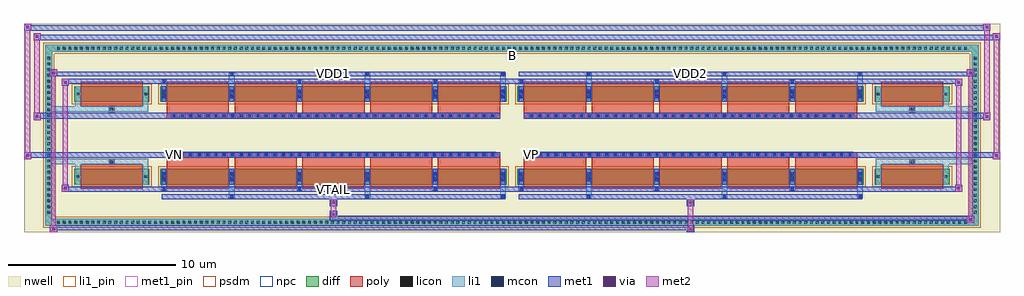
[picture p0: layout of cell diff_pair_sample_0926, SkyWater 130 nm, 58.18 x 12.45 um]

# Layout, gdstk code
import gdstk
lib = gdstk.Library(unit=1e-6, precision=5e-09)
def R(c, l, rs):  # rectangles x0, y0, x1, y1
    for r in rs: c.add(gdstk.rectangle(r[:2], r[2:], *l))
def A(c, l, x, y, w, h, nx, ny, dx, dy):  # array of equal rectangles
    R(c, l, [(x+i*dx, y+j*dy, x+i*dx+w, y+j*dy+h) for i in range(nx) for j in range(ny)])
def P(c, l, *ps):  # polygons
    for p in ps: c.add(gdstk.Polygon(p, *l))
nwell = (64, 20)
diff = (65, 20)
poly = (66, 20)
licon = (66, 44)
li1_pin = (67, 16)
li1 = (67, 20)
mcon = (67, 44)
met1_pin = (68, 16)
met1 = (68, 20)
via = (68, 44)
met2 = (69, 20)
psdm = (94, 20)
npc = (95, 20)

diff_pair_sample_0926 = lib.new_cell('diff_pair_sample_0926')
R(diff_pair_sample_0926, nwell, [(-29.09,-5.79,29.09,6.66), (-26.41,-3.98,-0.01,-0.8), (0.01,-3.98,26.41,-0.8), (-26.41,0.8,-0.01,3.98), (0.01,0.8,26.41,3.98)])
A(diff_pair_sample_0926, diff, -27.235, -5.39, 0.41, 0.41, 160, 2, 0.34, 10.37)
A(diff_pair_sample_0926, diff, -27.82, -4.795, 0.41, 0.41, 1, 28, 0, 0.34)
A(diff_pair_sample_0926, diff, 27.41, -4.795, 0.41, 0.41, 1, 28, 0, 0.34)
R(diff_pair_sample_0926, diff, [(-27.235,-5.39,27.235,-4.98), (-27.82,-4.795,-27.41,4.795), (27.41,-4.795,27.82,4.795), (-26.1,-2.935,-21.61,-1.985), (-20.97,-2.935,-0.32,-1.985), (0.32,-2.935,20.97,-1.985), (21.61,-2.935,26.1,-1.985), (-26.1,1.985,-21.61,2.935), (-20.97,1.985,-0.32,2.935), (0.32,1.985,20.97,2.935), (21.61,1.985,26.1,2.935), (-27.235,4.98,27.235,5.39)])
P(diff_pair_sample_0926, diff, [(27.82,5.39),(-27.82,5.39),(-27.82,-4.98),(-27.41,-4.98),(-27.41,4.98),(27.41,4.98),(27.41,-4.98),(-27.41,-4.98),(-27.82,-4.98),(-27.82,-5.39),(27.82,-5.39)])
A(diff_pair_sample_0926, poly, -20.58, -3.185, 3.71, 1.45, 5, 2, 4.04, 4.92)
A(diff_pair_sample_0926, poly, 0.71, -3.185, 3.71, 1.45, 5, 2, 4.04, 4.92)
A(diff_pair_sample_0926, poly, -20.58, -1.735, 3.71, 0.405, 5, 2, 4.04, 3.065)
A(diff_pair_sample_0926, poly, 0.71, -1.735, 3.71, 0.405, 5, 2, 4.04, 3.065)
A(diff_pair_sample_0926, poly, -20.31, -1.33, 0.33, 0.33, 39, 2, 0.5, 2.33)
A(diff_pair_sample_0926, poly, 0.98, -1.33, 0.33, 0.33, 39, 2, 0.5, 2.33)
R(diff_pair_sample_0926, poly, [(-25.71,-3.185,-22,-1.735), (22,-3.185,25.71,-1.735), (-24.02,-1.735,-23.69,-1.405), (-24.02,-1.735,-23.69,-1.405), (23.69,-1.735,24.02,-1.405), (23.69,-1.735,24.02,-1.405), (-20.58,-1.33,-0.71,-1), (0.71,-1.33,20.58,-1), (-20.58,1,-0.71,1.33), (0.71,1,20.58,1.33), (-24.02,1.405,-23.69,1.735), (-24.02,1.405,-23.69,1.735), (23.69,1.405,24.02,1.735), (23.69,1.405,24.02,1.735), (-25.71,1.735,-22,3.185), (22,1.735,25.71,3.185)])
A(diff_pair_sample_0926, licon, -27.115, -5.27, 0.17, 0.17, 160, 2, 0.34, 10.37)
A(diff_pair_sample_0926, licon, -27.7, -4.675, 0.17, 0.17, 1, 28, 0, 0.34)
A(diff_pair_sample_0926, licon, 27.53, -4.675, 0.17, 0.17, 1, 28, 0, 0.34)
A(diff_pair_sample_0926, licon, -20.83, -2.545, 0.17, 0.17, 6, 2, 4.04, 4.92)
A(diff_pair_sample_0926, licon, 0.46, -2.545, 0.17, 0.17, 6, 2, 4.04, 4.92)
A(diff_pair_sample_0926, licon, -20.23, -1.25, 0.17, 0.17, 39, 2, 0.5, 2.33)
A(diff_pair_sample_0926, licon, 1.06, -1.25, 0.17, 0.17, 39, 2, 0.5, 2.33)
R(diff_pair_sample_0926, licon, [(-25.96,-2.545,-25.79,-2.375), (-21.92,-2.545,-21.75,-2.375), (21.75,-2.545,21.92,-2.375), (25.79,-2.545,25.96,-2.375), (-23.94,-1.655,-23.77,-1.485), (23.77,-1.655,23.94,-1.485), (-23.94,1.485,-23.77,1.655), (23.77,1.485,23.94,1.655), (-25.96,2.375,-25.79,2.545), (-21.92,2.375,-21.75,2.545), (21.75,2.375,21.92,2.545), (25.79,2.375,25.96,2.545)])
R(diff_pair_sample_0926, li1_pin, [(-0.25,4.48,0.25,4.98)])
A(diff_pair_sample_0926, li1, -27.195, -5.35, 0.33, 0.33, 160, 2, 0.34, 10.37)
A(diff_pair_sample_0926, li1, -27.78, -4.755, 0.33, 0.33, 1, 28, 0, 0.34)
A(diff_pair_sample_0926, li1, 27.45, -4.755, 0.33, 0.33, 1, 28, 0, 0.34)
A(diff_pair_sample_0926, li1, -16.87, -3.74, 0.33, 0.805, 3, 2, 8.08, 6.675)
A(diff_pair_sample_0926, li1, -16.79, -3.74, 0.17, 0.17, 3, 2, 8.08, 7.31)
A(diff_pair_sample_0926, li1, 4.42, -3.74, 0.33, 0.805, 3, 2, 8.08, 6.675)
A(diff_pair_sample_0926, li1, 4.5, -3.74, 0.17, 0.17, 3, 2, 8.08, 7.31)
A(diff_pair_sample_0926, li1, -20.91, -3.31, 0.33, 0.375, 3, 2, 8.08, 6.245)
A(diff_pair_sample_0926, li1, -20.83, -3.31, 0.17, 0.17, 3, 2, 8.08, 6.45)
A(diff_pair_sample_0926, li1, 0.38, -3.31, 0.33, 0.375, 3, 2, 8.08, 6.245)
A(diff_pair_sample_0926, li1, 0.46, -3.31, 0.17, 0.17, 3, 2, 8.08, 6.45)
A(diff_pair_sample_0926, li1, -20.91, -2.935, 0.33, 0.95, 6, 2, 4.04, 4.92)
A(diff_pair_sample_0926, li1, 0.38, -2.935, 0.33, 0.95, 6, 2, 4.04, 4.92)
A(diff_pair_sample_0926, li1, -20.83, -2.725, 0.17, 0.17, 6, 2, 4.04, 0.36)
A(diff_pair_sample_0926, li1, -20.83, -2.725, 0.17, 0.53, 6, 2, 4.04, 4.92)
A(diff_pair_sample_0926, li1, 0.46, -2.725, 0.17, 0.17, 6, 2, 4.04, 0.36)
A(diff_pair_sample_0926, li1, 0.46, -2.725, 0.17, 0.53, 6, 2, 4.04, 4.92)
A(diff_pair_sample_0926, li1, -20.91, -2.625, 0.33, 0.33, 6, 2, 4.04, 4.92)
A(diff_pair_sample_0926, li1, 0.38, -2.625, 0.33, 0.33, 6, 2, 4.04, 4.92)
A(diff_pair_sample_0926, li1, -20.31, -1.33, 0.33, 0.33, 39, 2, 0.5, 2.33)
A(diff_pair_sample_0926, li1, 0.98, -1.33, 0.33, 0.33, 39, 2, 0.5, 2.33)
A(diff_pair_sample_0926, li1, -20.83, 2.195, 0.17, 0.17, 6, 2, 4.04, 0.36)
A(diff_pair_sample_0926, li1, 0.46, 2.195, 0.17, 0.17, 6, 2, 4.04, 0.36)
R(diff_pair_sample_0926, li1, [(-27.82,-5.39,-27.41,-4.98), (-27.82,-5.39,-27.41,-4.98), (-27.41,-5.39,27.41,-4.98), (27.41,-5.39,27.82,-4.98), (27.41,-5.39,27.82,-4.98), (-27.82,-4.98,-27.41,4.98), (27.41,-4.98,27.82,4.98), (-26.04,-2.935,-25.71,-1.985), (-22,-2.935,-21.67,-1.985), (21.67,-2.935,22,-1.985), (25.71,-2.935,26.04,-1.985), (-26.04,-2.625,-25.71,-2.295), (-22,-2.625,-21.67,-2.295), (21.67,-2.625,22,-2.295), (25.71,-2.625,26.04,-2.295), (-26.04,-1.985,-25.71,-1.405), (-22,-1.985,-21.67,-1.405), (21.67,-1.985,22,-1.405), (25.71,-1.985,26.04,-1.405), (-27.82,-1.735,-24.02,-1.405), (-26.04,-1.735,-24.02,-1.405), (-24.02,-1.735,-23.69,-1.405), (-23.69,-1.735,-21.67,-1.405), (21.67,-1.735,23.69,-1.405), (23.69,-1.735,24.02,-1.405), (23.69,-1.735,27.82,-1.405), (24.02,-1.735,26.04,-1.405), (-27.82,1.405,-24.02,1.735), (-26.04,1.405,-24.02,1.735), (-26.04,1.405,-25.71,1.985), (-24.02,1.405,-23.69,1.735), (-23.69,1.405,-21.67,1.735), (-22,1.405,-21.67,1.985), (21.67,1.405,23.69,1.735), (21.67,1.405,22,1.985), (23.69,1.405,24.02,1.735), (23.69,1.405,27.82,1.735), (24.02,1.405,26.04,1.735), (25.71,1.405,26.04,1.985), (-26.04,1.985,-25.71,2.935), (-22,1.985,-21.67,2.935), (21.67,1.985,22,2.935), (25.71,1.985,26.04,2.935), (-26.04,2.295,-25.71,2.625), (-22,2.295,-21.67,2.625), (21.67,2.295,22,2.625), (25.71,2.295,26.04,2.625), (-27.82,4.98,-27.41,5.39), (-27.82,4.98,-27.41,5.39), (-27.41,4.98,27.41,5.39), (27.41,4.98,27.82,5.39), (27.41,4.98,27.82,5.39)])
A(diff_pair_sample_0926, mcon, -16.79, -3.74, 0.17, 0.17, 3, 2, 8.08, 7.31)
A(diff_pair_sample_0926, mcon, 4.5, -3.74, 0.17, 0.17, 3, 2, 8.08, 7.31)
A(diff_pair_sample_0926, mcon, -20.83, -3.31, 0.17, 0.17, 3, 2, 8.08, 6.45)
A(diff_pair_sample_0926, mcon, 0.46, -3.31, 0.17, 0.17, 3, 2, 8.08, 6.45)
A(diff_pair_sample_0926, mcon, -20.83, -2.725, 0.17, 0.17, 6, 2, 4.04, 0.36)
A(diff_pair_sample_0926, mcon, 0.46, -2.725, 0.17, 0.17, 6, 2, 4.04, 0.36)
A(diff_pair_sample_0926, mcon, -20.23, -1.25, 0.17, 0.17, 39, 2, 0.5, 2.33)
A(diff_pair_sample_0926, mcon, 1.06, -1.25, 0.17, 0.17, 39, 2, 0.5, 2.33)
A(diff_pair_sample_0926, mcon, -20.83, 2.195, 0.17, 0.17, 6, 2, 4.04, 0.36)
A(diff_pair_sample_0926, mcon, 0.46, 2.195, 0.17, 0.17, 6, 2, 4.04, 0.36)
R(diff_pair_sample_0926, met1_pin, [(-10.78,-3.35,-10.51,-3.08), (-20.28,-1.29,-20.01,-1.02), (1.01,-1.29,1.28,-1.02), (-10.78,3.53,-10.51,3.8), (10.51,3.53,10.78,3.8)])
A(diff_pair_sample_0926, met1, -16.85, -3.8, 0.29, 0.29, 3, 2, 8.08, 7.31)
A(diff_pair_sample_0926, met1, 4.44, -3.8, 0.29, 0.29, 3, 2, 8.08, 7.31)
A(diff_pair_sample_0926, met1, -20.89, -3.37, 0.29, 0.29, 3, 2, 8.08, 6.45)
A(diff_pair_sample_0926, met1, 0.4, -3.37, 0.29, 0.29, 3, 2, 8.08, 6.45)
A(diff_pair_sample_0926, met1, -20.89, -2.935, 0.29, 0.95, 6, 2, 4.04, 4.92)
A(diff_pair_sample_0926, met1, 0.4, -2.935, 0.29, 0.95, 6, 2, 4.04, 4.92)
A(diff_pair_sample_0926, met1, -20.89, -2.785, 0.29, 0.29, 6, 2, 4.04, 0.36)
A(diff_pair_sample_0926, met1, 0.4, -2.785, 0.29, 0.29, 6, 2, 4.04, 0.36)
A(diff_pair_sample_0926, met1, -20.29, -1.31, 0.29, 0.29, 39, 2, 0.5, 2.33)
A(diff_pair_sample_0926, met1, 1, -1.31, 0.29, 0.29, 39, 2, 0.5, 2.33)
A(diff_pair_sample_0926, met1, -20.89, 2.135, 0.29, 0.29, 6, 2, 4.04, 0.36)
A(diff_pair_sample_0926, met1, 0.4, 2.135, 0.29, 0.29, 6, 2, 4.04, 0.36)
R(diff_pair_sample_0926, met1, [(-27.55,-5.79,-27.12,-5.36), (10.43,-5.79,10.86,-5.36), (-27.55,-5.65,10.86,-5.36), (27.12,-5.22,27.55,-4.79), (-10.86,-5.08,27.55,-4.79), (-10.86,-4.94,-10.43,-4.51), (-10.86,-4.23,-10.43,-3.8), (10.43,-4.23,10.86,-3.8), (-20.89,-3.8,-0.4,-3.51), (0.4,-3.8,20.89,-3.51), (-26.84,-3.37,-26.41,-2.94), (-26.84,-3.37,-20.89,-3.08), (-20.89,-3.37,-0.4,-3.08), (-0.4,-3.37,0.4,-3.08), (0.4,-3.37,20.89,-3.08), (20.89,-3.37,26.84,-3.08), (26.41,-3.37,26.84,-2.94), (-29.09,-1.43,-28.66,-1), (28.66,-1.43,29.09,-1), (-29.09,-1.33,-0.71,-1), (-20.58,-1.33,-0.71,-1), (0.71,-1.33,20.58,-1), (0.71,-1.33,29.09,-1), (-28.52,0.9,-28.09,1.33), (28.09,0.9,28.52,1.33), (-28.52,1,-20.58,1.33), (-20.58,1,-0.71,1.33), (0.71,1,20.58,1.33), (20.58,1,28.52,1.33), (-26.84,2.94,-26.41,3.37), (26.41,2.94,26.84,3.37), (-26.84,3.08,-20.89,3.37), (-20.89,3.08,-0.4,3.37), (-0.4,3.08,0.4,3.37), (0.4,3.08,20.89,3.37), (20.89,3.08,26.84,3.37), (-27.55,3.51,-27.12,3.94), (-27.55,3.51,-20.89,3.8), (-20.89,3.51,-0.4,3.8), (0.4,3.51,20.89,3.8), (20.89,3.51,27.55,3.8), (27.12,3.51,27.55,3.94), (-28.52,5.66,-28.09,6.09), (-28.52,5.66,-26.41,5.99), (-26.41,5.66,26.41,5.99), (26.41,5.66,29.09,5.99), (28.66,5.66,29.09,6.09), (-29.09,6.23,-28.66,6.66), (-29.09,6.23,-26.41,6.56), (-26.41,6.23,26.41,6.56), (26.41,6.23,28.52,6.56), (28.09,6.23,28.52,6.66)])
R(diff_pair_sample_0926, via, [(-27.41,-5.65,-27.26,-5.5), (10.57,-5.65,10.72,-5.5), (27.26,-5.08,27.41,-4.93), (-10.72,-4.8,-10.57,-4.65), (-10.72,-4.09,-10.57,-3.94), (10.57,-4.09,10.72,-3.94), (-26.7,-3.23,-26.55,-3.08), (26.55,-3.23,26.7,-3.08), (-28.95,-1.29,-28.8,-1.14), (28.8,-1.29,28.95,-1.14), (-28.38,1.04,-28.23,1.19), (28.23,1.04,28.38,1.19), (-26.7,3.08,-26.55,3.23), (26.55,3.08,26.7,3.23), (-27.41,3.65,-27.26,3.8), (27.26,3.65,27.41,3.8), (-28.38,5.8,-28.23,5.95), (28.8,5.8,28.95,5.95), (-28.95,6.37,-28.8,6.52), (28.23,6.37,28.38,6.52)])
R(diff_pair_sample_0926, met2, [(-27.55,-5.79,-27.12,-5.36), (-27.48,-5.79,-27.19,3.94), (-27.19,-5.79,-27.12,-5.36), (-27.5,-5.74,-27.17,-5.41), (10.48,-5.74,10.81,-5.41), (10.48,-5.41,10.81,-4.18), (27.12,-5.22,27.55,-4.79), (27.19,-5.22,27.48,3.94), (27.48,-5.22,27.55,-4.79), (27.17,-5.17,27.5,-4.84), (-10.81,-4.89,-10.48,-4.56), (-10.81,-4.56,-10.48,-4.18), (-10.81,-4.18,-10.48,-3.85), (10.48,-4.18,10.81,-3.85), (-26.84,-3.37,-26.41,-2.94), (-26.77,-3.37,-26.48,3.37), (-26.48,-3.37,-26.41,-2.94), (26.41,-3.37,26.84,-2.94), (26.48,-3.37,26.77,3.37), (26.77,-3.37,26.84,-2.94), (-26.79,-3.32,-26.46,-2.99), (26.46,-3.32,26.79,-2.99), (-29.09,-1.43,-28.66,-1), (-29.04,-1.43,-28.71,6.66), (-28.71,-1.43,-28.66,-1), (28.66,-1.43,29.09,-1), (28.71,-1.43,29.04,6.09), (29.04,-1.43,29.09,-1), (-29.04,-1.38,-28.71,-1.05), (28.71,-1.38,29.04,-1.05), (-28.52,0.9,-28.09,1.33), (-28.47,0.9,-28.14,6.09), (-28.14,0.9,-28.09,1.33), (28.09,0.9,28.52,1.33), (28.14,0.9,28.47,6.66), (28.47,0.9,28.52,1.33), (-28.47,0.95,-28.14,1.28), (28.14,0.95,28.47,1.28), (-26.84,2.94,-26.41,3.37), (-26.48,2.94,-26.41,3.37), (26.41,2.94,26.84,3.37), (26.77,2.94,26.84,3.37), (-26.79,2.99,-26.46,3.32), (26.46,2.99,26.79,3.32), (-27.55,3.51,-27.12,3.94), (-27.19,3.51,-27.12,3.94), (27.12,3.51,27.55,3.94), (27.48,3.51,27.55,3.94), (-27.5,3.56,-27.17,3.89), (27.17,3.56,27.5,3.89), (-28.52,5.66,-28.09,6.09), (-28.14,5.66,-28.09,6.09), (28.66,5.66,29.09,6.09), (29.04,5.66,29.09,6.09), (-28.47,5.71,-28.14,6.04), (28.71,5.71,29.04,6.04), (-29.09,6.23,-28.66,6.66), (-28.71,6.23,-28.66,6.66), (28.09,6.23,28.52,6.66), (28.47,6.23,28.52,6.66), (-29.04,6.28,-28.71,6.61), (28.14,6.28,28.47,6.61)])
R(diff_pair_sample_0926, psdm, [(-26.23,-3.065,-21.48,-1.855), (-21.1,-3.065,-0.19,-1.855), (0.19,-3.065,21.1,-1.855), (21.48,-3.065,26.23,-1.855), (-26.23,1.855,-21.48,3.065), (-21.1,1.855,-0.19,3.065), (0.19,1.855,21.1,3.065), (21.48,1.855,26.23,3.065)])
P(diff_pair_sample_0926, psdm, [(27.95,5.52),(-27.95,5.52),(-27.95,-4.85),(-27.28,-4.85),(-27.28,4.85),(27.28,4.85),(27.28,-4.85),(-27.28,-4.85),(-27.95,-4.85),(-27.95,-5.52),(27.95,-5.52)])
A(diff_pair_sample_0926, npc, -20.33, -1.35, 0.37, 0.37, 39, 2, 0.5, 2.33)
A(diff_pair_sample_0926, npc, 0.96, -1.35, 0.37, 0.37, 39, 2, 0.5, 2.33)
R(diff_pair_sample_0926, npc, [(-24.04,-1.755,-23.67,-1.385), (23.67,-1.755,24.04,-1.385), (-20.33,-1.35,-19.46,-0.98), (-20.33,-1.35,-19.46,-0.98), (-19.83,-1.35,-18.96,-0.98), (-19.83,-1.35,-18.96,-0.98), (-19.33,-1.35,-18.46,-0.98), (-19.33,-1.35,-18.46,-0.98), (-18.83,-1.35,-17.96,-0.98), (-18.83,-1.35,-17.96,-0.98), (-18.33,-1.35,-17.46,-0.98), (-18.33,-1.35,-17.46,-0.98), (-17.83,-1.35,-16.96,-0.98), (-17.83,-1.35,-16.96,-0.98), (-17.33,-1.35,-16.46,-0.98), (-17.33,-1.35,-16.46,-0.98), (-16.83,-1.35,-15.96,-0.98), (-16.83,-1.35,-15.96,-0.98), (-16.33,-1.35,-15.46,-0.98), (-16.33,-1.35,-15.46,-0.98), (-15.83,-1.35,-14.96,-0.98), (-15.83,-1.35,-14.96,-0.98), (-15.33,-1.35,-14.46,-0.98), (-15.33,-1.35,-14.46,-0.98), (-14.83,-1.35,-13.96,-0.98), (-14.83,-1.35,-13.96,-0.98), (-14.33,-1.35,-13.46,-0.98), (-14.33,-1.35,-13.46,-0.98), (-13.83,-1.35,-12.96,-0.98), (-13.83,-1.35,-12.96,-0.98), (-13.33,-1.35,-12.46,-0.98), (-13.33,-1.35,-12.46,-0.98), (-12.83,-1.35,-11.96,-0.98), (-12.83,-1.35,-11.96,-0.98), (-12.33,-1.35,-11.46,-0.98), (-12.33,-1.35,-11.46,-0.98), (-11.83,-1.35,-10.96,-0.98), (-11.83,-1.35,-10.96,-0.98), (-11.33,-1.35,-10.46,-0.98), (-11.33,-1.35,-10.46,-0.98), (-10.83,-1.35,-9.96,-0.98), (-10.83,-1.35,-9.96,-0.98), (-10.33,-1.35,-9.46,-0.98), (-10.33,-1.35,-9.46,-0.98), (-9.83,-1.35,-8.96,-0.98), (-9.83,-1.35,-8.96,-0.98), (-9.33,-1.35,-8.46,-0.98), (-9.33,-1.35,-8.46,-0.98), (-8.83,-1.35,-7.96,-0.98), (-8.83,-1.35,-7.96,-0.98), (-8.33,-1.35,-7.46,-0.98), (-8.33,-1.35,-7.46,-0.98), (-7.83,-1.35,-6.96,-0.98), (-7.83,-1.35,-6.96,-0.98), (-7.33,-1.35,-6.46,-0.98), (-7.33,-1.35,-6.46,-0.98), (-6.83,-1.35,-5.96,-0.98), (-6.83,-1.35,-5.96,-0.98), (-6.33,-1.35,-5.46,-0.98), (-6.33,-1.35,-5.46,-0.98), (-5.83,-1.35,-4.96,-0.98), (-5.83,-1.35,-4.96,-0.98), (-5.33,-1.35,-4.46,-0.98), (-5.33,-1.35,-4.46,-0.98), (-4.83,-1.35,-3.96,-0.98), (-4.83,-1.35,-3.96,-0.98), (-4.33,-1.35,-3.46,-0.98), (-4.33,-1.35,-3.46,-0.98), (-3.83,-1.35,-2.96,-0.98), (-3.83,-1.35,-2.96,-0.98), (-3.33,-1.35,-2.46,-0.98), (-3.33,-1.35,-2.46,-0.98), (-2.83,-1.35,-1.96,-0.98), (-2.83,-1.35,-1.96,-0.98), (-2.33,-1.35,-1.46,-0.98), (-2.33,-1.35,-1.46,-0.98), (-1.83,-1.35,-0.96,-0.98), (-1.83,-1.35,-0.96,-0.98), (0.96,-1.35,1.83,-0.98), (0.96,-1.35,1.83,-0.98), (1.46,-1.35,2.33,-0.98), (1.46,-1.35,2.33,-0.98), (1.96,-1.35,2.83,-0.98), (1.96,-1.35,2.83,-0.98), (2.46,-1.35,3.33,-0.98), (2.46,-1.35,3.33,-0.98), (2.96,-1.35,3.83,-0.98), (2.96,-1.35,3.83,-0.98), (3.46,-1.35,4.33,-0.98), (3.46,-1.35,4.33,-0.98), (3.96,-1.35,4.83,-0.98), (3.96,-1.35,4.83,-0.98), (4.46,-1.35,5.33,-0.98), (4.46,-1.35,5.33,-0.98), (4.96,-1.35,5.83,-0.98), (4.96,-1.35,5.83,-0.98), (5.46,-1.35,6.33,-0.98), (5.46,-1.35,6.33,-0.98), (5.96,-1.35,6.83,-0.98), (5.96,-1.35,6.83,-0.98), (6.46,-1.35,7.33,-0.98), (6.46,-1.35,7.33,-0.98), (6.96,-1.35,7.83,-0.98), (6.96,-1.35,7.83,-0.98), (7.46,-1.35,8.33,-0.98), (7.46,-1.35,8.33,-0.98), (7.96,-1.35,8.83,-0.98), (7.96,-1.35,8.83,-0.98), (8.46,-1.35,9.33,-0.98), (8.46,-1.35,9.33,-0.98), (8.96,-1.35,9.83,-0.98), (8.96,-1.35,9.83,-0.98), (9.46,-1.35,10.33,-0.98), (9.46,-1.35,10.33,-0.98), (9.96,-1.35,10.83,-0.98), (9.96,-1.35,10.83,-0.98), (10.46,-1.35,11.33,-0.98), (10.46,-1.35,11.33,-0.98), (10.96,-1.35,11.83,-0.98), (10.96,-1.35,11.83,-0.98), (11.46,-1.35,12.33,-0.98), (11.46,-1.35,12.33,-0.98), (11.96,-1.35,12.83,-0.98), (11.96,-1.35,12.83,-0.98), (12.46,-1.35,13.33,-0.98), (12.46,-1.35,13.33,-0.98), (12.96,-1.35,13.83,-0.98), (12.96,-1.35,13.83,-0.98), (13.46,-1.35,14.33,-0.98), (13.46,-1.35,14.33,-0.98), (13.96,-1.35,14.83,-0.98), (13.96,-1.35,14.83,-0.98), (14.46,-1.35,15.33,-0.98), (14.46,-1.35,15.33,-0.98), (14.96,-1.35,15.83,-0.98), (14.96,-1.35,15.83,-0.98), (15.46,-1.35,16.33,-0.98), (15.46,-1.35,16.33,-0.98), (15.96,-1.35,16.83,-0.98), (15.96,-1.35,16.83,-0.98), (16.46,-1.35,17.33,-0.98), (16.46,-1.35,17.33,-0.98), (16.96,-1.35,17.83,-0.98), (16.96,-1.35,17.83,-0.98), (17.46,-1.35,18.33,-0.98), (17.46,-1.35,18.33,-0.98), (17.96,-1.35,18.83,-0.98), (17.96,-1.35,18.83,-0.98), (18.46,-1.35,19.33,-0.98), (18.46,-1.35,19.33,-0.98), (18.96,-1.35,19.83,-0.98), (18.96,-1.35,19.83,-0.98), (19.46,-1.35,20.33,-0.98), (19.46,-1.35,20.33,-0.98), (-20.33,0.98,-19.46,1.35), (-20.33,0.98,-19.46,1.35), (-19.83,0.98,-18.96,1.35), (-19.83,0.98,-18.96,1.35), (-19.33,0.98,-18.46,1.35), (-19.33,0.98,-18.46,1.35), (-18.83,0.98,-17.96,1.35), (-18.83,0.98,-17.96,1.35), (-18.33,0.98,-17.46,1.35), (-18.33,0.98,-17.46,1.35), (-17.83,0.98,-16.96,1.35), (-17.83,0.98,-16.96,1.35), (-17.33,0.98,-16.46,1.35), (-17.33,0.98,-16.46,1.35), (-16.83,0.98,-15.96,1.35), (-16.83,0.98,-15.96,1.35), (-16.33,0.98,-15.46,1.35), (-16.33,0.98,-15.46,1.35), (-15.83,0.98,-14.96,1.35), (-15.83,0.98,-14.96,1.35), (-15.33,0.98,-14.46,1.35), (-15.33,0.98,-14.46,1.35), (-14.83,0.98,-13.96,1.35), (-14.83,0.98,-13.96,1.35), (-14.33,0.98,-13.46,1.35), (-14.33,0.98,-13.46,1.35), (-13.83,0.98,-12.96,1.35), (-13.83,0.98,-12.96,1.35), (-13.33,0.98,-12.46,1.35), (-13.33,0.98,-12.46,1.35), (-12.83,0.98,-11.96,1.35), (-12.83,0.98,-11.96,1.35), (-12.33,0.98,-11.46,1.35), (-12.33,0.98,-11.46,1.35), (-11.83,0.98,-10.96,1.35), (-11.83,0.98,-10.96,1.35), (-11.33,0.98,-10.46,1.35), (-11.33,0.98,-10.46,1.35), (-10.83,0.98,-9.96,1.35), (-10.83,0.98,-9.96,1.35), (-10.33,0.98,-9.46,1.35), (-10.33,0.98,-9.46,1.35), (-9.83,0.98,-8.96,1.35), (-9.83,0.98,-8.96,1.35), (-9.33,0.98,-8.46,1.35), (-9.33,0.98,-8.46,1.35), (-8.83,0.98,-7.96,1.35), (-8.83,0.98,-7.96,1.35), (-8.33,0.98,-7.46,1.35), (-8.33,0.98,-7.46,1.35), (-7.83,0.98,-6.96,1.35), (-7.83,0.98,-6.96,1.35), (-7.33,0.98,-6.46,1.35), (-7.33,0.98,-6.46,1.35), (-6.83,0.98,-5.96,1.35), (-6.83,0.98,-5.96,1.35), (-6.33,0.98,-5.46,1.35), (-6.33,0.98,-5.46,1.35), (-5.83,0.98,-4.96,1.35), (-5.83,0.98,-4.96,1.35), (-5.33,0.98,-4.46,1.35), (-5.33,0.98,-4.46,1.35), (-4.83,0.98,-3.96,1.35), (-4.83,0.98,-3.96,1.35), (-4.33,0.98,-3.46,1.35), (-4.33,0.98,-3.46,1.35), (-3.83,0.98,-2.96,1.35), (-3.83,0.98,-2.96,1.35), (-3.33,0.98,-2.46,1.35), (-3.33,0.98,-2.46,1.35), (-2.83,0.98,-1.96,1.35), (-2.83,0.98,-1.96,1.35), (-2.33,0.98,-1.46,1.35), (-2.33,0.98,-1.46,1.35), (-1.83,0.98,-0.96,1.35), (-1.83,0.98,-0.96,1.35), (0.96,0.98,1.83,1.35), (0.96,0.98,1.83,1.35), (1.46,0.98,2.33,1.35), (1.46,0.98,2.33,1.35), (1.96,0.98,2.83,1.35), (1.96,0.98,2.83,1.35), (2.46,0.98,3.33,1.35), (2.46,0.98,3.33,1.35), (2.96,0.98,3.83,1.35), (2.96,0.98,3.83,1.35), (3.46,0.98,4.33,1.35), (3.46,0.98,4.33,1.35), (3.96,0.98,4.83,1.35), (3.96,0.98,4.83,1.35), (4.46,0.98,5.33,1.35), (4.46,0.98,5.33,1.35), (4.96,0.98,5.83,1.35), (4.96,0.98,5.83,1.35), (5.46,0.98,6.33,1.35), (5.46,0.98,6.33,1.35), (5.96,0.98,6.83,1.35), (5.96,0.98,6.83,1.35), (6.46,0.98,7.33,1.35), (6.46,0.98,7.33,1.35), (6.96,0.98,7.83,1.35), (6.96,0.98,7.83,1.35), (7.46,0.98,8.33,1.35), (7.46,0.98,8.33,1.35), (7.96,0.98,8.83,1.35), (7.96,0.98,8.83,1.35), (8.46,0.98,9.33,1.35), (8.46,0.98,9.33,1.35), (8.96,0.98,9.83,1.35), (8.96,0.98,9.83,1.35), (9.46,0.98,10.33,1.35), (9.46,0.98,10.33,1.35), (9.96,0.98,10.83,1.35), (9.96,0.98,10.83,1.35), (10.46,0.98,11.33,1.35), (10.46,0.98,11.33,1.35), (10.96,0.98,11.83,1.35), (10.96,0.98,11.83,1.35), (11.46,0.98,12.33,1.35), (11.46,0.98,12.33,1.35), (11.96,0.98,12.83,1.35), (11.96,0.98,12.83,1.35), (12.46,0.98,13.33,1.35), (12.46,0.98,13.33,1.35), (12.96,0.98,13.83,1.35), (12.96,0.98,13.83,1.35), (13.46,0.98,14.33,1.35), (13.46,0.98,14.33,1.35), (13.96,0.98,14.83,1.35), (13.96,0.98,14.83,1.35), (14.46,0.98,15.33,1.35), (14.46,0.98,15.33,1.35), (14.96,0.98,15.83,1.35), (14.96,0.98,15.83,1.35), (15.46,0.98,16.33,1.35), (15.46,0.98,16.33,1.35), (15.96,0.98,16.83,1.35), (15.96,0.98,16.83,1.35), (16.46,0.98,17.33,1.35), (16.46,0.98,17.33,1.35), (16.96,0.98,17.83,1.35), (16.96,0.98,17.83,1.35), (17.46,0.98,18.33,1.35), (17.46,0.98,18.33,1.35), (17.96,0.98,18.83,1.35), (17.96,0.98,18.83,1.35), (18.46,0.98,19.33,1.35), (18.46,0.98,19.33,1.35), (18.96,0.98,19.83,1.35), (18.96,0.98,19.83,1.35), (19.46,0.98,20.33,1.35), (19.46,0.98,20.33,1.35), (-24.04,1.385,-23.67,1.755), (23.67,1.385,24.04,1.755)])
diff_pair_sample_0926.add(gdstk.Label('VTAIL', (-10.645,-3.215), layer=68, texttype=5))
diff_pair_sample_0926.add(gdstk.Label('VN', (-20.145,-1.155), layer=68, texttype=5))
diff_pair_sample_0926.add(gdstk.Label('VP', (1.145,-1.155), layer=68, texttype=5))
diff_pair_sample_0926.add(gdstk.Label('B', (0,4.73), layer=67, texttype=5))
diff_pair_sample_0926.add(gdstk.Label('VDD2', (10.645,3.665), layer=68, texttype=5))
diff_pair_sample_0926.add(gdstk.Label('VDD1', (-10.645,3.665), layer=68, texttype=5))

lib.write_gds('diff_pair_sample_0926.gds')
